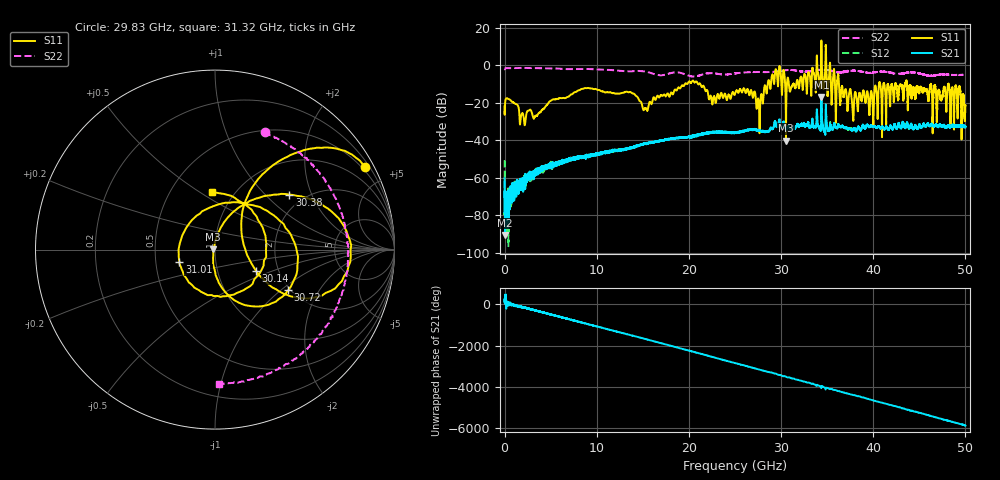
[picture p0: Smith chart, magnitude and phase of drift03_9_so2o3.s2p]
!Created with skrf (http://scikit-rf.org).
# Hz S RI R 50.0
!freq ReS11 ImS11 ReS21 ImS21 ReS12 ImS12 ReS22 ImS22
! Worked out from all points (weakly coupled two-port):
!   10001 points, 300 kHz to 50 GHz, reference 50 ohm
!   highest |S21| = -16.89 dB at 34.38 GHz (marker M1); lowest = -90.5 dB at 50.3 MHz (marker M2)
!   lowest |S11| = -40.1 dB at 30.53 GHz (marker M3), VSWR 1.02, Z = 49 + j0.208 ohm
!   |S11| at or under -10 dB: start of sweep to 19.56 GHz; 21.25 GHz to 28.55 GHz (7.295 GHz wide, 29.3 % of centre); 36.28 GHz to 40.62 GHz (4.342 GHz wide, 11.3 % of centre) (the widest 3 of 36)
!   |S22| runs from -5.9 to -1.3 dB; largest |S21 - S12| = 0.025
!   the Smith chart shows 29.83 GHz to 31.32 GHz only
!   S11 on the Smith chart (normalised r, x): 29.83 GHz: 0.37, +3.86; 30.14 GHz: 1.54, -0.39; 30.38 GHz: 1.68, +1.40; 30.72 GHz: 1.95, -1.13; 31.01 GHz: 0.66, -0.10; 31.32 GHz: 0.79, +0.56
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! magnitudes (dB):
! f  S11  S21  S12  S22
! 300 kHz  -21.9  -60.4  -50.7  -2.1
! 50.3 MHz  -20.4  -90.5  -77.7  -1.6
! 255.3 MHz  -17.6  -68.8  -87.6  -1.4
! 3.305 GHz  -27.2  -57.5  -56.9  -1.5
! 8.335 GHz  -12.6  -49.2  -49.2  -1.9
! 15.28 GHz  -22.8  -41.8  -41.9  -3.3
! 16.67 GHz  -16.6  -40.9  -40.5  -5.2
! 20.26 GHz  -9.2  -37.7  -37.8  -5.8
! 25 GHz  -15.2  -35.9  -35.6  -4.3
! 27.53 GHz  -17.9  -34.6  -34.5  -3.5
! 29.83 GHz  -0.4  -29.2  -28.8  -3.0
! 30.14 GHz  -11.7  -33.3  -33.6  -2.8
! 30.38 GHz  -5.8  -32.1  -32.6  -2.6
! 30.53 GHz  -40.1  -34.2  -34.0  -2.6
! 30.72 GHz  -6.6  -32.8  -32.7  -2.5
! 31.01 GHz  -13.6  -34.2  -34.2  -2.5
! 31.32 GHz  -9.8  -32.4  -32.4  -2.5
! 33.34 GHz  -7.4  -31.5  -31.4  -2.9
! 34.38 GHz  13.3  -16.9  -18.0  -2.2
! 37.84 GHz  -29.6  -34.0  -34.5  -2.9
! 41.67 GHz  -11.7  -34.5  -34.2  -3.7
! 50 GHz  -21.4  -33.0  -32.6  -5.0
